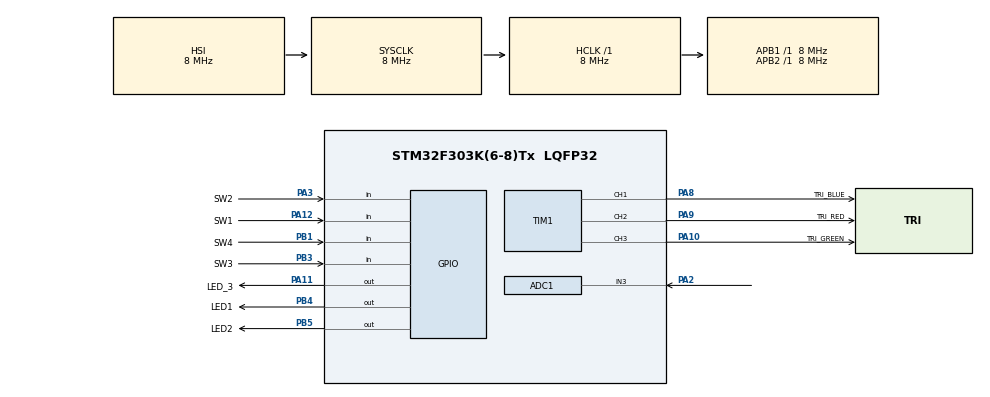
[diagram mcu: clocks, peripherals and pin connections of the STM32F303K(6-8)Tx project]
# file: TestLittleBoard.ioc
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ADC1.Channel-0\#ChannelRegularConversion=ADC_CHANNEL_3
ADC1.EOCSelection=ADC_EOC_SINGLE_CONV
ADC1.ExternalTrigConv=ADC_EXTERNALTRIGCONV_T6_TRGO
ADC1.InjNumberOfConversion=0
ADC1.NbrOfConversion=1
ADC1.NbrOfConversionFlag=1
ADC1.Offset-0\#ChannelRegularConversion=0
ADC1.OffsetNumber-0\#ChannelRegularConversion=ADC_OFFSET_NONE
ADC1.Overrun=ADC_OVR_DATA_PRESERVED
ADC1.Rank-0\#ChannelRegularConversion=1
ADC1.SamplingTime-0\#ChannelRegularConversion=ADC_SAMPLETIME_1CYCLE_5
ADC1.SubFamily=STM32F303x8
ADC1.master=1
Dma.ADC1.0.Direction=DMA_PERIPH_TO_MEMORY
Dma.ADC1.0.Instance=DMA1_Channel1
Dma.ADC1.0.MemDataAlignment=DMA_MDATAALIGN_HALFWORD
Dma.ADC1.0.MemInc=DMA_MINC_ENABLE
Dma.ADC1.0.Mode=DMA_NORMAL
Dma.ADC1.0.PeriphDataAlignment=DMA_PDATAALIGN_HALFWORD
Dma.ADC1.0.PeriphInc=DMA_PINC_DISABLE
Dma.ADC1.0.Priority=DMA_PRIORITY_LOW
Dma.Request0=ADC1
Mcu.Family=STM32F3
Mcu.Name=STM32F303K(6-8)Tx
Mcu.Package=LQFP32
NVIC.DMA1_Channel1_IRQn=true\:0\:0\:false\:false\:true\:false\:true
NVIC.PriorityGroup=NVIC_PRIORITYGROUP_4
PA10.GPIO_Label=TRI_GREEN
PA10.Signal=S_TIM1_CH3
PA11.GPIO_Label=LED_3
PA11.PinState=GPIO_PIN_SET
PA11.Signal=GPIO_Output
PA12.GPIO_Label=SW1
PA12.Signal=GPIO_Input
PA2.Mode=IN3-Single-Ended
PA2.Signal=ADC1_IN3
PA3.GPIO_Label=SW2
PA3.Signal=GPIO_Input
PA4.Signal=ADC2_IN1
PA5.Signal=ADC2_IN2
PA6.Signal=ADC2_IN3
PA7.Signal=ADC2_IN4
PA8.GPIO_Label=TRI_BLUE
PA8.Signal=S_TIM1_CH1
PA9.GPIO_Label=TRI_RED
PA9.Signal=S_TIM1_CH2
PB1.GPIO_Label=SW4
PB1.Signal=GPIO_Input
PB3.GPIO_Label=SW3
PB3.Signal=GPIO_Input
PB4.GPIO_Label=LED1
PB4.PinState=GPIO_PIN_SET
PB4.Signal=GPIO_Output
PB5.GPIO_Label=LED2
PB5.PinState=GPIO_PIN_SET
PB5.Signal=GPIO_Output
ProjectManager.HeapSize=0x200
ProjectManager.StackSize=0x400
ProjectManager.TargetToolchain=EWARM V8.32
RCC.AHBFreq_Value=8000000
RCC.APB1Freq_Value=8000000
RCC.APB2Freq_Value=8000000
RCC.CortexFreq_Value=8000000
RCC.HSE_VALUE=8000000
RCC.HSI_VALUE=8000000
RCC.PLLMUL=RCC_PLL_MUL4
RCC.SYSCLKFreq_VALUE=8000000
SH.S_TIM1_CH1.0=TIM1_CH1,PWM Generation1 CH1
SH.S_TIM1_CH2.0=TIM1_CH2,PWM Generation2 CH2
SH.S_TIM1_CH3.0=TIM1_CH3,PWM Generation3 CH3
TIM1.Channel-PWM\ Generation1\ CH1=TIM_CHANNEL_1
TIM1.Channel-PWM\ Generation2\ CH2=TIM_CHANNEL_2
TIM1.Channel-PWM\ Generation3\ CH3=TIM_CHANNEL_3
TIM6.Period=200
TIM6.TIM_MasterOutputTrigger=TIM_TRGO_UPDATE
VP_TIM6_VS_ClockSourceINT.Mode=Enable_Timer
board=custom

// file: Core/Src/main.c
/* USER CODE BEGIN Header */
/**
  ******************************************************************************
  * @file           : main.c
  * @brief          : Main program body
  ******************************************************************************
  * @attention
  *
  * <h2><center>&copy; Copyright (c) 2021 STMicroelectronics.
  * All rights reserved.</center></h2>
  *
  * This software component is licensed by ST under BSD 3-Clause license,
  * the "License"; You may not use this file except in compliance with the
  * License. You may obtain a copy of the License at:
  *                        opensource.org/licenses/BSD-3-Clause
  *
  ******************************************************************************
  */
/* USER CODE END Header */
#include "main.h"

/* USER CODE BEGIN Includes */
#include "arm_math.h"
#include "arm_const_structs.h"
#include "KeyboardHoldRepeat.h"

/* USER CODE END Includes */

/* USER CODE BEGIN PTD */

//Sets the color assignment for each bin
typedef enum {
      RBG,
      BGR,
      GRB,
      GBR,
      RGB,
      BRG
} COLOR_MODE;

/* USER CODE END PTD */

/* USER CODE BEGIN PD */

/* Color Bin Values */
#define RED_LVL         18
#define GRN_LVL         45
#define BLUE_LVL        140

/* Minimum bucket value */
#define CUTOFF_LVL      7000

/* Max LED PWM Pulse (Everything else is too bright) */
#define LED_MAX         5000
/* USER CODE END PD */

ADC_HandleTypeDef hadc1;
DMA_HandleTypeDef hdma_adc1;

TIM_HandleTypeDef htim1;
TIM_HandleTypeDef htim6;

/* USER CODE BEGIN PV */

// scheduler stuff
extern uint8_t ten_mS_Flag;
extern uint8_t twentyfive_mS_Flag;
extern uint8_t hundred_mS_Flag;
extern uint8_t one_S_Flag;

// DMA Flags for processing first/second half of data
extern volatile uint32_t process_First;
extern volatile uint32_t process_Second;

// PWM Structs to easily configure the LED Outputs
TIM_OC_InitTypeDef TRI_RED = {0};
TIM_OC_InitTypeDef TRI_GREEN = {0};
TIM_OC_InitTypeDef TRI_BLUE = {0};

// Flag set when DMA data has been processed and bins filled
uint8_t FFT_DATA_READY = false;

// Buckets for adding together frequency bins
uint16_t Bucket_Low = 0;
uint16_t Bucket_Med = 0;
uint16_t Bucket_High = 0;

COLOR_MODE MODE;

uint8_t Button_Code;

/* USER CODE END PV */

void SystemClock_Config(void);
static void MX_GPIO_Init(void);
static void MX_ADC1_Init(void);
static void MX_TIM1_Init(void);
static void MX_DMA_Init(void);
static void MX_TIM6_Init(void);
/* USER CODE BEGIN PFP */

void Fill_Buckets ();
void Display_FFT(COLOR_MODE MODE);

uint16_t data[1024];
float FFT_OUT[512];
float FFT_data[1024];

volatile uint8_t ms25_Count = 0;

/* USER CODE END PFP */

int main(void)
{

  /* MCU Configuration--------------------------------------------------------*/

  /* Reset of all peripherals, Initializes the Flash interface and the Systick. */
  HAL_Init();

  /* Configure the system clock */
  SystemClock_Config();

  /* Initialize all configured peripherals */
  MX_GPIO_Init();
  MX_ADC1_Init();
  MX_TIM1_Init();
  MX_DMA_Init();
  MX_TIM6_Init();
  /* USER CODE BEGIN 2 */
  hdma_adc1.Instance->CCR = 1409;
  HAL_TIM_Base_Start(&htim6);

  TRI_RED.OCMode = TIM_OCMODE_PWM1;
  TRI_RED.Pulse = 0;
  TRI_RED.OCPolarity = TIM_OCPOLARITY_HIGH;
  TRI_RED.OCNPolarity = TIM_OCNPOLARITY_HIGH;
  TRI_RED.OCFastMode = TIM_OCFAST_DISABLE;
  TRI_RED.OCIdleState = TIM_OCIDLESTATE_RESET;
  TRI_RED.OCNIdleState = TIM_OCNIDLESTATE_RESET;

  TRI_GREEN.OCMode = TIM_OCMODE_PWM1;
  TRI_GREEN.Pulse = 0;
  TRI_GREEN.OCPolarity = TIM_OCPOLARITY_HIGH;
  TRI_GREEN.OCNPolarity = TIM_OCNPOLARITY_HIGH;
  TRI_GREEN.OCFastMode = TIM_OCFAST_DISABLE;
  TRI_GREEN.OCIdleState = TIM_OCIDLESTATE_RESET;
  TRI_GREEN.OCNIdleState = TIM_OCNIDLESTATE_RESET;

  TRI_BLUE.OCMode = TIM_OCMODE_PWM1;
  TRI_BLUE.Pulse = 0;
  TRI_BLUE.OCPolarity = TIM_OCPOLARITY_HIGH;
  TRI_BLUE.OCNPolarity = TIM_OCNPOLARITY_HIGH;
  TRI_BLUE.OCFastMode = TIM_OCFAST_DISABLE;
  TRI_BLUE.OCIdleState = TIM_OCIDLESTATE_RESET;
  TRI_BLUE.OCNIdleState = TIM_OCNIDLESTATE_RESET;

  /* USER CODE END 2 */

  /* Infinite loop */
  /* USER CODE BEGIN WHILE */
  while (1)
  {

    //---------------------------------
    // 10mS Tasks
    if (ten_mS_Flag) {
      ten_mS_Flag = false;

    }  // end of 10mS Tasks
    //---------------------------------

    //---------------------------------
    // 25mS Tasks
    if (twentyfive_mS_Flag) {
      twentyfive_mS_Flag = false;
      ms25_Count++;
      if(ms25_Count++ > 9){
        ms25_Count = 0;
        HAL_ADC_Start_DMA(&hadc1,(uint32_t*)data,1024);
      }

    }  // end of 25mS Tasks
    //---------------------------------

    //---------------------------------
    // 100mS Tasks
    if (hundred_mS_Flag) {
      hundred_mS_Flag = false;
      Button_Code = ScanKeyboard();

    }  // end of 100mS Tasks
    //---------------------------------

    //---------------------------------
    // 1 Sec Tasks
    if (one_S_Flag) {
      one_S_Flag = false;

    } // end of 1Sec Tasks
    //---------------------------------

    //---------------------------------
    // Every time through the loop

    if(process_First){
      process_First = 0;
      int j = 0;
      for(int i=0; i<512;i++){
        FFT_data[j] = (float)data[i]-1986.0;
        FFT_data[j+1] = 0.0;
        j+=2;
      }
      /* Process the data through the CFFT/CIFFT module */
      arm_cfft_f32(&arm_cfft_sR_f32_len512, FFT_data, 0, 1);

      /* Process the data through the Complex Magnitude Module for calculating the magnitude at each bin*/
      arm_cmplx_mag_f32(FFT_data, FFT_OUT, 512);
      FFT_DATA_READY = true;
    }
    else if(process_Second){
      process_Second = 0;
      int j = 0;
      for(int i=512; i<1024;i++){
        FFT_data[j] = (float)data[i]-1986.0;
        FFT_data[j+1] = 0.0;
        j+=2;
      }
      /* Process the data through the CFFT/CIFFT module */
         arm_cfft_f32(&arm_cfft_sR_f32_len512, FFT_data, 0, 1);

        /* Process the data through the Complex Magnitude Module for calculating the magnitude at each bin*/
        arm_cmplx_mag_f32(FFT_data, FFT_OUT, 512);
        FFT_DATA_READY = true;
    }

    if(FFT_DATA_READY){
      FFT_DATA_READY = false;
      Fill_Buckets();
      Display_FFT(MODE);
    }

    // end Every time through the loop
    //---------------------------------

    /* USER CODE END WHILE */

  }
}

void SystemClock_Config(void)
{
  RCC_OscInitTypeDef RCC_OscInitStruct = {0};
  RCC_ClkInitTypeDef RCC_ClkInitStruct = {0};
  RCC_PeriphCLKInitTypeDef PeriphClkInit = {0};

  /** Initializes the RCC Oscillators according to the specified parameters
  * in the RCC_OscInitTypeDef structure.
  */
  RCC_OscInitStruct.OscillatorType = RCC_OSCILLATORTYPE_HSI;
  RCC_OscInitStruct.HSIState = RCC_HSI_ON;
  RCC_OscInitStruct.HSICalibrationValue = RCC_HSICALIBRATION_DEFAULT;
  RCC_OscInitStruct.PLL.PLLState = RCC_PLL_ON;
  RCC_OscInitStruct.PLL.PLLSource = RCC_PLLSOURCE_HSI;
  RCC_OscInitStruct.PLL.PLLMUL = RCC_PLL_MUL4;
  if (HAL_RCC_OscConfig(&RCC_OscInitStruct) != HAL_OK)
  {
    Error_Handler();
  }
  /** Initializes the CPU, AHB and APB buses clocks
  */
  RCC_ClkInitStruct.ClockType = RCC_CLOCKTYPE_HCLK|RCC_CLOCKTYPE_SYSCLK
                              |RCC_CLOCKTYPE_PCLK1|RCC_CLOCKTYPE_PCLK2;
  RCC_ClkInitStruct.SYSCLKSource = RCC_SYSCLKSOURCE_HSI;
  RCC_ClkInitStruct.AHBCLKDivider = RCC_SYSCLK_DIV1;
  RCC_ClkInitStruct.APB1CLKDivider = RCC_HCLK_DIV1;
  RCC_ClkInitStruct.APB2CLKDivider = RCC_HCLK_DIV1;

  if (HAL_RCC_ClockConfig(&RCC_ClkInitStruct, FLASH_LATENCY_0) != HAL_OK)
  {
    Error_Handler();
  }
  PeriphClkInit.PeriphClockSelection = RCC_PERIPHCLK_TIM1|RCC_PERIPHCLK_ADC12;
  PeriphClkInit.Adc12ClockSelection = RCC_ADC12PLLCLK_DIV1;
  PeriphClkInit.Tim1ClockSelection = RCC_TIM1CLK_HCLK;
  if (HAL_RCCEx_PeriphCLKConfig(&PeriphClkInit) != HAL_OK)
  {
    Error_Handler();
  }
}

static void MX_ADC1_Init(void)
{

  ADC_MultiModeTypeDef multimode = {0};
  ADC_ChannelConfTypeDef sConfig = {0};

  /** Common config
  */
  hadc1.Instance = ADC1;
  hadc1.Init.ClockPrescaler = ADC_CLOCK_ASYNC_DIV1;
  hadc1.Init.Resolution = ADC_RESOLUTION_12B;
  hadc1.Init.ScanConvMode = ADC_SCAN_DISABLE;
  hadc1.Init.ContinuousConvMode = DISABLE;
  hadc1.Init.DiscontinuousConvMode = DISABLE;
  hadc1.Init.ExternalTrigConvEdge = ADC_EXTERNALTRIGCONVEDGE_RISING;
  hadc1.Init.ExternalTrigConv = ADC_EXTERNALTRIGCONV_T6_TRGO;
  hadc1.Init.DataAlign = ADC_DATAALIGN_RIGHT;
  hadc1.Init.NbrOfConversion = 1;
  hadc1.Init.DMAContinuousRequests = DISABLE;
  hadc1.Init.EOCSelection = ADC_EOC_SINGLE_CONV;
  hadc1.Init.LowPowerAutoWait = DISABLE;
  hadc1.Init.Overrun = ADC_OVR_DATA_PRESERVED;
  if (HAL_ADC_Init(&hadc1) != HAL_OK)
  {
    Error_Handler();
  }
  /** Configure the ADC multi-mode
  */
  multimode.Mode = ADC_MODE_INDEPENDENT;
  if (HAL_ADCEx_MultiModeConfigChannel(&hadc1, &multimode) != HAL_OK)
  {
    Error_Handler();
  }
  /** Configure Regular Channel
  */
  sConfig.Channel = ADC_CHANNEL_3;
  sConfig.Rank = ADC_REGULAR_RANK_1;
  sConfig.SingleDiff = ADC_SINGLE_ENDED;
  sConfig.SamplingTime = ADC_SAMPLETIME_1CYCLE_5;
  sConfig.OffsetNumber = ADC_OFFSET_NONE;
  sConfig.Offset = 0;
  if (HAL_ADC_ConfigChannel(&hadc1, &sConfig) != HAL_OK)
  {
    Error_Handler();
  }

}

static void MX_TIM1_Init(void)
{

  TIM_MasterConfigTypeDef sMasterConfig = {0};
  TIM_OC_InitTypeDef sConfigOC = {0};
  TIM_BreakDeadTimeConfigTypeDef sBreakDeadTimeConfig = {0};

  htim1.Instance = TIM1;
  htim1.Init.Prescaler = 0;
  htim1.Init.CounterMode = TIM_COUNTERMODE_UP;
  htim1.Init.Period = 65535;
  htim1.Init.ClockDivision = TIM_CLOCKDIVISION_DIV1;
  htim1.Init.RepetitionCounter = 0;
  htim1.Init.AutoReloadPreload = TIM_AUTORELOAD_PRELOAD_DISABLE;
  if (HAL_TIM_PWM_Init(&htim1) != HAL_OK)
  {
    Error_Handler();
  }
  sMasterConfig.MasterOutputTrigger = TIM_TRGO_RESET;
  sMasterConfig.MasterOutputTrigger2 = TIM_TRGO2_RESET;
  sMasterConfig.MasterSlaveMode = TIM_MASTERSLAVEMODE_DISABLE;
  if (HAL_TIMEx_MasterConfigSynchronization(&htim1, &sMasterConfig) != HAL_OK)
  {
    Error_Handler();
  }
  sConfigOC.OCMode = TIM_OCMODE_PWM1;
  sConfigOC.Pulse = 0;
  sConfigOC.OCPolarity = TIM_OCPOLARITY_HIGH;
  sConfigOC.OCNPolarity = TIM_OCNPOLARITY_HIGH;
  sConfigOC.OCFastMode = TIM_OCFAST_DISABLE;
  sConfigOC.OCIdleState = TIM_OCIDLESTATE_RESET;
  sConfigOC.OCNIdleState = TIM_OCNIDLESTATE_RESET;
  if (HAL_TIM_PWM_ConfigChannel(&htim1, &sConfigOC, TIM_CHANNEL_1) != HAL_OK)
  {
    Error_Handler();
  }
  if (HAL_TIM_PWM_ConfigChannel(&htim1, &sConfigOC, TIM_CHANNEL_2) != HAL_OK)
  {
    Error_Handler();
  }
  if (HAL_TIM_PWM_ConfigChannel(&htim1, &sConfigOC, TIM_CHANNEL_3) != HAL_OK)
  {
    Error_Handler();
  }
  sBreakDeadTimeConfig.OffStateRunMode = TIM_OSSR_DISABLE;
  sBreakDeadTimeConfig.OffStateIDLEMode = TIM_OSSI_DISABLE;
  sBreakDeadTimeConfig.LockLevel = TIM_LOCKLEVEL_OFF;
  sBreakDeadTimeConfig.DeadTime = 0;
  sBreakDeadTimeConfig.BreakState = TIM_BREAK_DISABLE;
  sBreakDeadTimeConfig.BreakPolarity = TIM_BREAKPOLARITY_HIGH;
  sBreakDeadTimeConfig.BreakFilter = 0;
  sBreakDeadTimeConfig.Break2State = TIM_BREAK2_DISABLE;
  sBreakDeadTimeConfig.Break2Polarity = TIM_BREAK2POLARITY_HIGH;
  sBreakDeadTimeConfig.Break2Filter = 0;
  sBreakDeadTimeConfig.AutomaticOutput = TIM_AUTOMATICOUTPUT_DISABLE;
  if (HAL_TIMEx_ConfigBreakDeadTime(&htim1, &sBreakDeadTimeConfig) != HAL_OK)
  {
    Error_Handler();
  }
  HAL_TIM_MspPostInit(&htim1);

}

static void MX_TIM6_Init(void)
{

  TIM_MasterConfigTypeDef sMasterConfig = {0};

  htim6.Instance = TIM6;
  htim6.Init.Prescaler = 0;
  htim6.Init.CounterMode = TIM_COUNTERMODE_UP;
  htim6.Init.Period = 500;
  htim6.Init.AutoReloadPreload = TIM_AUTORELOAD_PRELOAD_DISABLE;
  if (HAL_TIM_Base_Init(&htim6) != HAL_OK)
  {
    Error_Handler();
  }
  sMasterConfig.MasterOutputTrigger = TIM_TRGO_UPDATE;
  sMasterConfig.MasterSlaveMode = TIM_MASTERSLAVEMODE_DISABLE;
  if (HAL_TIMEx_MasterConfigSynchronization(&htim6, &sMasterConfig) != HAL_OK)
  {
    Error_Handler();
  }

}

static void MX_DMA_Init(void)
{

  /* DMA controller clock enable */
  __HAL_RCC_DMA1_CLK_ENABLE();

  /* DMA interrupt init */
  /* DMA1_Channel1_IRQn interrupt configuration */
  HAL_NVIC_SetPriority(DMA1_Channel1_IRQn, 0, 0);
  HAL_NVIC_EnableIRQ(DMA1_Channel1_IRQn);

}

static void MX_GPIO_Init(void)
{
  GPIO_InitTypeDef GPIO_InitStruct = {0};

  /* GPIO Ports Clock Enable */
  __HAL_RCC_GPIOA_CLK_ENABLE();
  __HAL_RCC_GPIOB_CLK_ENABLE();

  /*Configure GPIO pin Output Level */
  HAL_GPIO_WritePin(LED_3_GPIO_Port, LED_3_Pin, GPIO_PIN_SET);

  /*Configure GPIO pin Output Level */
  HAL_GPIO_WritePin(GPIOB, LED1_Pin|LED2_Pin, GPIO_PIN_SET);

  /*Configure GPIO pins : SW2_Pin SW1_Pin */
  GPIO_InitStruct.Pin = SW2_Pin|SW1_Pin;
  GPIO_InitStruct.Mode = GPIO_MODE_INPUT;
  GPIO_InitStruct.Pull = GPIO_NOPULL;
  HAL_GPIO_Init(GPIOA, &GPIO_InitStruct);

  /*Configure GPIO pins : PA4 PA5 PA6 PA7 */
  GPIO_InitStruct.Pin = GPIO_PIN_4|GPIO_PIN_5|GPIO_PIN_6|GPIO_PIN_7;
  GPIO_InitStruct.Mode = GPIO_MODE_ANALOG;
  GPIO_InitStruct.Pull = GPIO_NOPULL;
  HAL_GPIO_Init(GPIOA, &GPIO_InitStruct);

  /*Configure GPIO pins : SW4_Pin SW3_Pin */
  GPIO_InitStruct.Pin = SW4_Pin|SW3_Pin;
  GPIO_InitStruct.Mode = GPIO_MODE_INPUT;
  GPIO_InitStruct.Pull = GPIO_NOPULL;
  HAL_GPIO_Init(GPIOB, &GPIO_InitStruct);

  /*Configure GPIO pin : LED_3_Pin */
  GPIO_InitStruct.Pin = LED_3_Pin;
  GPIO_InitStruct.Mode = GPIO_MODE_OUTPUT_PP;
  GPIO_InitStruct.Pull = GPIO_NOPULL;
  GPIO_InitStruct.Speed = GPIO_SPEED_FREQ_LOW;
  HAL_GPIO_Init(LED_3_GPIO_Port, &GPIO_InitStruct);

  /*Configure GPIO pins : LED1_Pin LED2_Pin */
  GPIO_InitStruct.Pin = LED1_Pin|LED2_Pin;
  GPIO_InitStruct.Mode = GPIO_MODE_OUTPUT_PP;
  GPIO_InitStruct.Pull = GPIO_NOPULL;
  GPIO_InitStruct.Speed = GPIO_SPEED_FREQ_LOW;
  HAL_GPIO_Init(GPIOB, &GPIO_InitStruct);

}

/* USER CODE BEGIN 4 */
void Fill_Buckets (){

  //Unfill all buckets
  Bucket_Low = 0;
  Bucket_Med = 0;
  Bucket_High = 0;

  //Skip DC bucket (It is always too large)
  int i= 1;

  //Fill each bucket with appropriate bins (Set in definitions section at top of main.c)
  for(;i<RED_LVL;i++){
    Bucket_Low+= (uint16_t) FFT_OUT[i];
  }
  for (;i<GRN_LVL;i++){
    Bucket_High+=(uint16_t)FFT_OUT[i];
  }

  for(;i<BLUE_LVL;i++){
    Bucket_Med+=(uint16_t)FFT_OUT[i];
  }
}

void Display_FFT(COLOR_MODE MODE){
  uint16_t Pulse_Low, Pulse_Med, Pulse_High;

  //Find total so you can weight the LED intensity
  uint16_t total = Bucket_Low+Bucket_High+Bucket_Med;

  //Make sure the bucket content is large enough to display
  if(Bucket_Low > CUTOFF_LVL){

    //Calculate the percentage of that bucket in relation to total frequency content
    Pulse_Low = (uint16_t)(((float)Bucket_Low/(float)total)*LED_MAX);
  }

  //If there is low audio signal then do not turn on LED
  else{
    Pulse_Low = 0;
  }
  if(Bucket_Med > CUTOFF_LVL){
    Pulse_Med = (uint16_t)(((float)Bucket_Med/(float)total)*LED_MAX);
  }
  else{
    Pulse_Med = 0;
  }
  if(Bucket_High > CUTOFF_LVL){
    Pulse_High = (uint16_t)(((float)Bucket_High/(float)total)*LED_MAX);
  }
  else{
    Pulse_High = 0;
  }

  //Set the color pattern for each bucket
  switch(MODE){
    case (RBG):
      TRI_RED.Pulse = Pulse_Low;
      TRI_BLUE.Pulse = Pulse_Med;
      TRI_GREEN.Pulse = Pulse_High;
      break;
    case (BGR):
      TRI_RED.Pulse = Pulse_High;
      TRI_BLUE.Pulse = Pulse_Low;
      TRI_GREEN.Pulse = Pulse_Med;
      break;
    case (GRB):
      TRI_RED.Pulse = Pulse_Med;
      TRI_BLUE.Pulse = Pulse_High;
      TRI_GREEN.Pulse = Pulse_Low;
      break;
    case (GBR):
      TRI_RED.Pulse = Pulse_High;
      TRI_BLUE.Pulse = Pulse_Med;
      TRI_GREEN.Pulse = Pulse_Low;
      break;
    case (RGB):
      TRI_RED.Pulse = Pulse_Low;
      TRI_BLUE.Pulse = Pulse_High;
      TRI_GREEN.Pulse = Pulse_Med;
      break;
    case (BRG):
      TRI_RED.Pulse = Pulse_Med;
      TRI_BLUE.Pulse = Pulse_Low;
      TRI_GREEN.Pulse = Pulse_High;
      break;

  default:
    TRI_RED.Pulse = Pulse_Low;
    TRI_BLUE.Pulse = Pulse_Med;
    TRI_GREEN.Pulse = Pulse_High;
    break;
  }

  //Reset all the PWM signals for new frequency weights
  HAL_TIM_PWM_Stop(&htim1, TIM_CHANNEL_1);
  HAL_TIM_PWM_Stop(&htim1, TIM_CHANNEL_2);
  HAL_TIM_PWM_Stop(&htim1, TIM_CHANNEL_3);
  HAL_TIM_PWM_ConfigChannel(&htim1, &TRI_RED, TIM_CHANNEL_2);
  HAL_TIM_PWM_ConfigChannel(&htim1, &TRI_BLUE, TIM_CHANNEL_1);
  HAL_TIM_PWM_ConfigChannel(&htim1, &TRI_GREEN, TIM_CHANNEL_3);
  HAL_TIM_PWM_Start(&htim1, TIM_CHANNEL_1);
  HAL_TIM_PWM_Start(&htim1, TIM_CHANNEL_2);
  HAL_TIM_PWM_Start(&htim1, TIM_CHANNEL_3);

}

/* USER CODE END 4 */

void Error_Handler(void)
{
  __disable_irq();
  while (1)
  {
  }
}

/************************ (C) COPYRIGHT STMicroelectronics *****END OF FILE****/
